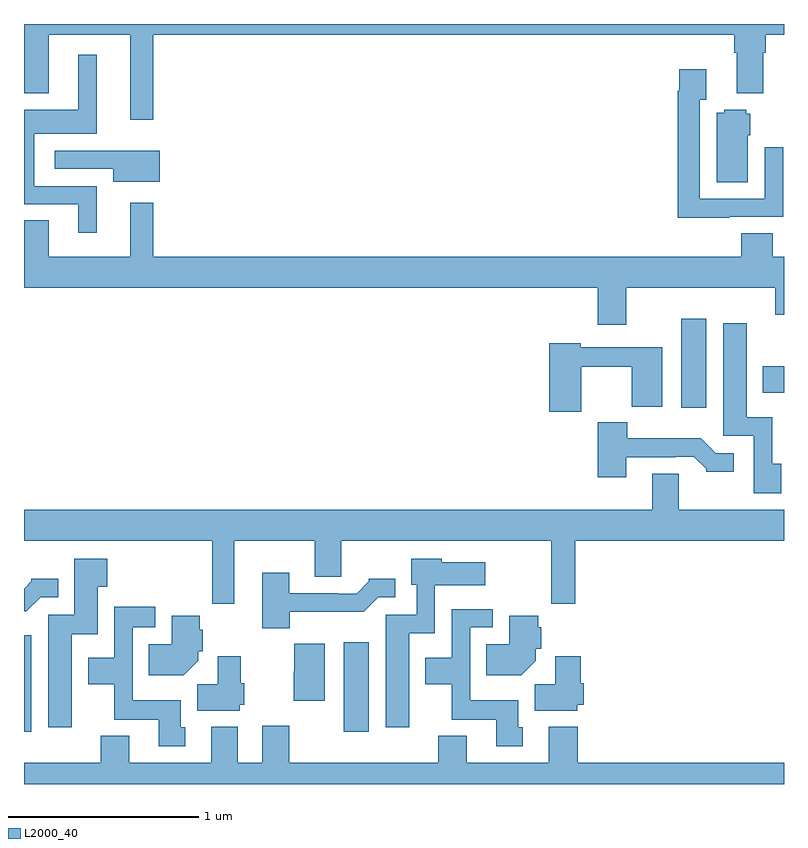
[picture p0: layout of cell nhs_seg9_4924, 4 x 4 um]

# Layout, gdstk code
import gdstk
lib = gdstk.Library(unit=1e-6, precision=1e-09)
def R(c, l, rs):  # rectangles x0, y0, x1, y1
    for r in rs: c.add(gdstk.rectangle(r[:2], r[2:], *l))
def P(c, l, *ps):  # polygons
    for p in ps: c.add(gdstk.Polygon(p, *l))
L2000_40 = (2000, 40)

nhs_seg9_4924 = lib.new_cell('nhs_seg9_4924')
R(nhs_seg9_4924, L2000_40, [(397,1168.776,397.039,1169.284), (398.684,1168.776,398.815,1169.245), (400.46,1170.48,400.591,1170.949), (400.889,1170.56,401,1170.7)])
P(nhs_seg9_4924, L2000_40, [(397.681,1172.444),(400.739,1172.444),(400.739,1172.348),(400.751,1172.348),(400.751,1172.135),(400.891,1172.135),(400.891,1172.348),(400.904,1172.348),(400.904,1172.444),(401,1172.444),(401,1172.5),(397,1172.5),(397,1172.135),(397.129,1172.135),(397.129,1172.444),(397.559,1172.444),(397.559,1171.995),(397.681,1171.995)],
  [(397.384,1171.647),(397.054,1171.647),(397.054,1171.922),(397.384,1171.922),(397.384,1172.338),(397.286,1172.338),(397.286,1172.05),(397,1172.05),(397,1171.551),(397.286,1171.551),(397.286,1171.401),(397.384,1171.401)],
  [(400.711,1171.485),(400.995,1171.485),(400.995,1171.852),(400.899,1171.852),(400.899,1171.581),(400.557,1171.581),(400.557,1172.102),(400.591,1172.102),(400.591,1172.263),(400.449,1172.263),(400.449,1172.15),(400.441,1172.15),(400.441,1171.481),(400.711,1171.481)],
  [(400.81,1171.914),(400.822,1171.914),(400.822,1172.028),(400.8,1172.028),(400.8,1172.05),(400.686,1172.05),(400.686,1172.032),(400.646,1172.032),(400.646,1171.666),(400.81,1171.666)],
  [(397.714,1171.834),(397.473,1171.834),(397.473,1171.833),(397.161,1171.833),(397.161,1171.737),(397.469,1171.737),(397.469,1171.67),(397.714,1171.67)],
  [(400.171,1171.112),(400.955,1171.112),(400.955,1170.971),(401,1170.971),(401,1171.276),(400.94,1171.276),(400.94,1171.4),(400.775,1171.4),(400.775,1171.276),(397.681,1171.276),(397.681,1171.558),(397.559,1171.558),(397.559,1171.276),(397.129,1171.276),(397.129,1171.466),(397,1171.466),(397,1171.112),(400.019,1171.112),(400.019,1170.918),(400.171,1170.918)],
  [(400.986,1170.186),(400.938,1170.186),(400.938,1170.43),(400.804,1170.43),(400.804,1170.925),(400.679,1170.925),(400.679,1170.333),(400.842,1170.333),(400.842,1170.03),(400.986,1170.03)],
  [(399.934,1170.697),(400.198,1170.697),(400.198,1170.485),(400.36,1170.485),(400.36,1170.798),(399.93,1170.798),(399.93,1170.819),(399.764,1170.819),(399.764,1170.459),(399.934,1170.459)],
  [(400.171,1170.219),(400.427,1170.219),(400.427,1170.222),(400.526,1170.222),(400.59,1170.158),(400.59,1170.143),(400.735,1170.143),(400.735,1170.24),(400.641,1170.24),(400.563,1170.319),(400.174,1170.319),(400.174,1170.403),(400.019,1170.403),(400.019,1170.114),(400.171,1170.114)],
  [(398.107,1169.78),(398.531,1169.78),(398.531,1169.59),(398.671,1169.59),(398.671,1169.78),(399.774,1169.78),(399.774,1169.448),(399.902,1169.448),(399.902,1169.78),(401,1169.78),(401,1169.944),(400.447,1169.944),(400.447,1170.134),(400.307,1170.134),(400.307,1169.944),(397,1169.944),(397,1169.78),(397.99,1169.78),(397.99,1169.448),(398.107,1169.448)],
  [(399.028,1169.294),(399.162,1169.294),(399.162,1169.546),(399.427,1169.546),(399.427,1169.668),(399.198,1169.668),(399.198,1169.686),(399.038,1169.686),(399.038,1169.55),(399.066,1169.55),(399.066,1169.391),(398.903,1169.391),(398.903,1168.8),(399.028,1168.8)],
  [(397.252,1169.288),(397.387,1169.288),(397.387,1169.539),(397.439,1169.539),(397.439,1169.686),(397.265,1169.686),(397.265,1169.391),(397.127,1169.391),(397.127,1168.8),(397.252,1168.8)],
  [(398.398,1169.406),(398.787,1169.406),(398.865,1169.484),(398.953,1169.484),(398.953,1169.581),(398.814,1169.581),(398.814,1169.566),(398.75,1169.502),(398.651,1169.502),(398.651,1169.505),(398.395,1169.505),(398.395,1169.611),(398.255,1169.611),(398.255,1169.321),(398.398,1169.321)],
  [(397.089,1169.484),(397.18,1169.484),(397.18,1169.581),(397.038,1169.581),(397.038,1169.566),(397,1169.528),(397,1169.408),(397.013,1169.408)],
  [(397.849,1168.8),(397.825,1168.8),(397.825,1168.942),(397.572,1168.942),(397.572,1169.325),(397.69,1169.325),(397.69,1169.434),(397.476,1169.434),(397.476,1169.164),(397.337,1169.164),(397.337,1169.024),(397.474,1169.024),(397.474,1168.838),(397.709,1168.838),(397.709,1168.698),(397.849,1168.698)],
  [(399.625,1168.8),(399.601,1168.8),(399.601,1168.942),(399.348,1168.942),(399.348,1169.325),(399.466,1169.325),(399.466,1169.421),(399.252,1169.421),(399.252,1169.164),(399.113,1169.164),(399.113,1169.024),(399.25,1169.024),(399.25,1168.838),(399.485,1168.838),(399.485,1168.698),(399.625,1168.698)],
  [(397.918,1169.15),(397.918,1169.199),(397.942,1169.199),(397.942,1169.313),(397.926,1169.313),(397.926,1169.386),(397.778,1169.386),(397.778,1169.236),(397.657,1169.236),(397.657,1169.072),(397.84,1169.072)],
  [(399.694,1169.15),(399.694,1169.211),(399.723,1169.211),(399.723,1169.325),(399.707,1169.325),(399.707,1169.386),(399.554,1169.386),(399.554,1169.236),(399.433,1169.236),(399.433,1169.072),(399.616,1169.072)],
  [(398.584,1169.239),(398.422,1169.239),(398.422,1169.091),(398.42,1169.091),(398.42,1168.938),(398.584,1168.938)],
  [(398.136,1168.917),(398.158,1168.917),(398.158,1169.031),(398.14,1169.031),(398.14,1169.173),(398.019,1169.173),(398.019,1169.024),(397.913,1169.024),(397.913,1168.886),(398.136,1168.886)],
  [(399.912,1168.917),(399.947,1168.917),(399.947,1169.031),(399.929,1169.031),(399.929,1169.173),(399.795,1169.173),(399.795,1169.024),(399.689,1169.024),(399.689,1168.886),(399.912,1168.886)],
  [(401,1168.612),(399.914,1168.612),(399.914,1168.801),(399.761,1168.801),(399.761,1168.612),(399.331,1168.612),(399.331,1168.753),(399.179,1168.753),(399.179,1168.612),(398.395,1168.612),(398.395,1168.807),(398.255,1168.807),(398.255,1168.612),(398.125,1168.612),(398.125,1168.801),(397.985,1168.801),(397.985,1168.612),(397.555,1168.612),(397.555,1168.753),(397.403,1168.753),(397.403,1168.612),(397,1168.612),(397,1168.5),(401,1168.5)])

lib.write_gds('nhs_seg9_4924.gds')
